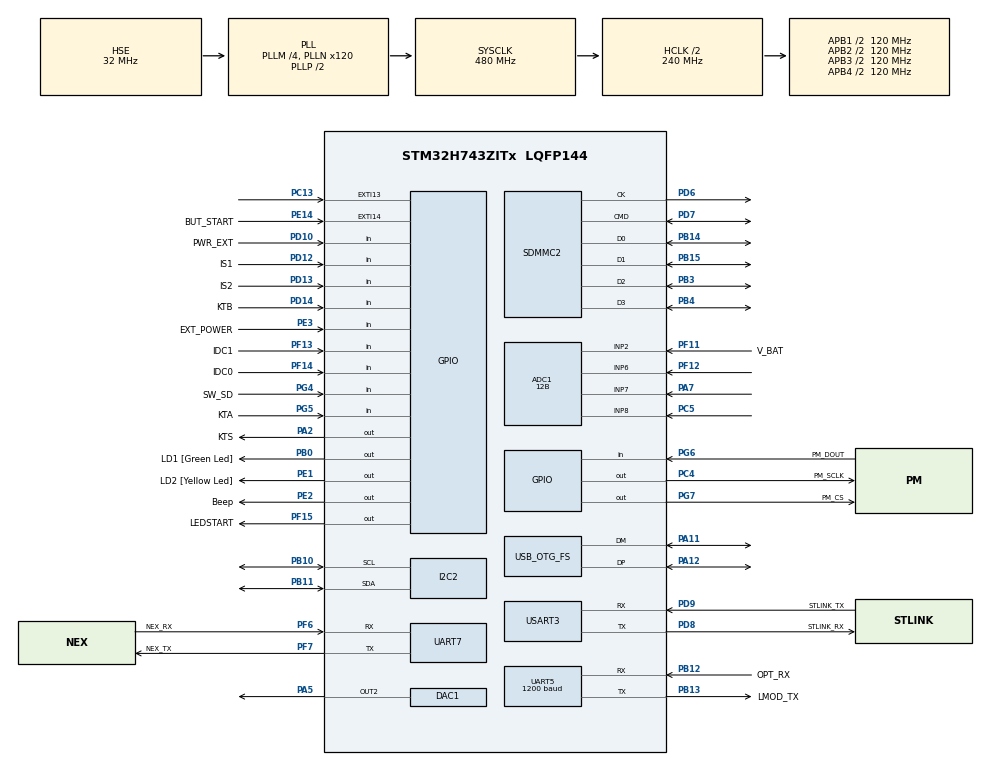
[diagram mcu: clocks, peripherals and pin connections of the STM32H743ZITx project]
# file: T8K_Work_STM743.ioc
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ADC1.Channel-3\#ChannelRegularConversion=ADC_CHANNEL_2
ADC1.Channel-4\#ChannelRegularConversion=ADC_CHANNEL_6
ADC1.Channel-5\#ChannelRegularConversion=ADC_CHANNEL_7
ADC1.Channel-6\#ChannelRegularConversion=ADC_CHANNEL_8
ADC1.ClockPrescaler=ADC_CLOCK_ASYNC_DIV2
ADC1.ContinuousConvMode=DISABLE
ADC1.ConversionDataManagement=ADC_CONVERSIONDATA_DMA_CIRCULAR
ADC1.ExternalTrigConv=ADC_SOFTWARE_START
ADC1.ExternalTrigConvEdge=ADC_EXTERNALTRIGCONVEDGE_NONE
ADC1.NbrOfConversion=4
ADC1.NbrOfConversionFlag=1
ADC1.OffsetNumber-3\#ChannelRegularConversion=ADC_OFFSET_NONE
ADC1.OffsetNumber-4\#ChannelRegularConversion=ADC_OFFSET_NONE
ADC1.OffsetNumber-5\#ChannelRegularConversion=ADC_OFFSET_NONE
ADC1.OffsetNumber-6\#ChannelRegularConversion=ADC_OFFSET_NONE
ADC1.OffsetSignedSaturation-3\#ChannelRegularConversion=DISABLE
ADC1.OversamplingMode=DISABLE
ADC1.Rank-3\#ChannelRegularConversion=1
ADC1.Rank-4\#ChannelRegularConversion=2
ADC1.Rank-5\#ChannelRegularConversion=3
ADC1.Rank-6\#ChannelRegularConversion=4
ADC1.Resolution=ADC_RESOLUTION_12B
ADC1.SamplingTime-3\#ChannelRegularConversion=ADC_SAMPLETIME_64CYCLES_5
ADC1.SamplingTime-4\#ChannelRegularConversion=ADC_SAMPLETIME_64CYCLES_5
ADC1.SamplingTime-5\#ChannelRegularConversion=ADC_SAMPLETIME_810CYCLES_5
ADC1.SamplingTime-6\#ChannelRegularConversion=ADC_SAMPLETIME_810CYCLES_5
ADC1.master=1
AL94.I-CUBE-USBD-COMPOSITE.1.0.3.CompositeCcUSBJjCOMPOSITEJjCDCIiACM=true
AL94.I-CUBE-USBD-COMPOSITE.1.0.3.CompositeCcUSBJjCOMPOSITEJjCOMPOSITE=true
AL94.I-CUBE-USBD-COMPOSITE.1.0.3.CompositeCcUSBJjCOMPOSITEJjCore=true
AL94.I-CUBE-USBD-COMPOSITE.1.0.3.CompositeCcUSBJjCOMPOSITEJjMSCIiBOT=true
AL94.I-CUBE-USBD-COMPOSITE.1.0.3._USBD_CDC_ACM_COUNT=1
AL94.I-CUBE-USBD-COMPOSITE.1.0.3._USBD_USE_CDC_ACM=true
AL94.I-CUBE-USBD-COMPOSITE.1.0.3._USBD_USE_HS=false
AL94.I-CUBE-USBD-COMPOSITE.1.0.3._USBD_USE_MSC=true
CORTEX_M7.CPU_DCache=Disabled
CORTEX_M7.CPU_ICache=Disabled
CORTEX_M7.default_mode_Activation=0
DAC1.DAC_Channel-DAC_OUT2=DAC_CHANNEL_2
Dma.ADC1.1.Direction=DMA_PERIPH_TO_MEMORY
Dma.ADC1.1.EventEnable=DISABLE
Dma.ADC1.1.FIFOMode=DMA_FIFOMODE_DISABLE
Dma.ADC1.1.Instance=DMA1_Stream1
Dma.ADC1.1.MemDataAlignment=DMA_MDATAALIGN_HALFWORD
Dma.ADC1.1.MemInc=DMA_MINC_ENABLE
Dma.ADC1.1.Mode=DMA_NORMAL
Dma.ADC1.1.PeriphDataAlignment=DMA_PDATAALIGN_HALFWORD
Dma.ADC1.1.PeriphInc=DMA_PINC_DISABLE
Dma.ADC1.1.Polarity=HAL_DMAMUX_REQ_GEN_RISING
Dma.ADC1.1.Priority=DMA_PRIORITY_HIGH
Dma.ADC1.1.RequestNumber=1
Dma.ADC1.1.SignalID=NONE
Dma.ADC1.1.SyncEnable=DISABLE
Dma.ADC1.1.SyncPolarity=HAL_DMAMUX_SYNC_NO_EVENT
Dma.ADC1.1.SyncRequestNumber=1
Dma.ADC1.1.SyncSignalID=NONE
Dma.Request0=USART3_TX
Dma.Request1=ADC1
Dma.Request2=UART7_TX
Dma.Request3=UART5_TX
Dma.UART5_TX.3.Direction=DMA_MEMORY_TO_PERIPH
Dma.UART5_TX.3.EventEnable=DISABLE
Dma.UART5_TX.3.FIFOMode=DMA_FIFOMODE_DISABLE
Dma.UART5_TX.3.Instance=DMA1_Stream5
Dma.UART5_TX.3.MemDataAlignment=DMA_MDATAALIGN_BYTE
Dma.UART5_TX.3.MemInc=DMA_MINC_ENABLE
Dma.UART5_TX.3.Mode=DMA_NORMAL
Dma.UART5_TX.3.PeriphDataAlignment=DMA_PDATAALIGN_BYTE
Dma.UART5_TX.3.PeriphInc=DMA_PINC_DISABLE
Dma.UART5_TX.3.Polarity=HAL_DMAMUX_REQ_GEN_RISING
Dma.UART5_TX.3.Priority=DMA_PRIORITY_LOW
Dma.UART5_TX.3.RequestNumber=1
Dma.UART5_TX.3.SignalID=NONE
Dma.UART5_TX.3.SyncEnable=DISABLE
Dma.UART5_TX.3.SyncPolarity=HAL_DMAMUX_SYNC_NO_EVENT
Dma.UART5_TX.3.SyncRequestNumber=1
Dma.UART5_TX.3.SyncSignalID=NONE
Dma.UART7_TX.2.Direction=DMA_MEMORY_TO_PERIPH
Dma.UART7_TX.2.EventEnable=DISABLE
Dma.UART7_TX.2.FIFOMode=DMA_FIFOMODE_DISABLE
Dma.UART7_TX.2.Instance=DMA1_Stream3
Dma.UART7_TX.2.MemDataAlignment=DMA_MDATAALIGN_BYTE
Dma.UART7_TX.2.MemInc=DMA_MINC_ENABLE
Dma.UART7_TX.2.Mode=DMA_NORMAL
Dma.UART7_TX.2.PeriphDataAlignment=DMA_PDATAALIGN_BYTE
Dma.UART7_TX.2.PeriphInc=DMA_PINC_DISABLE
Dma.UART7_TX.2.Polarity=HAL_DMAMUX_REQ_GEN_RISING
Dma.UART7_TX.2.Priority=DMA_PRIORITY_LOW
Dma.UART7_TX.2.RequestNumber=1
Dma.UART7_TX.2.SignalID=NONE
Dma.UART7_TX.2.SyncEnable=DISABLE
Dma.UART7_TX.2.SyncPolarity=HAL_DMAMUX_SYNC_NO_EVENT
Dma.UART7_TX.2.SyncRequestNumber=1
Dma.UART7_TX.2.SyncSignalID=NONE
Dma.USART3_TX.0.Direction=DMA_MEMORY_TO_PERIPH
Dma.USART3_TX.0.EventEnable=DISABLE
Dma.USART3_TX.0.FIFOMode=DMA_FIFOMODE_ENABLE
Dma.USART3_TX.0.FIFOThreshold=DMA_FIFO_THRESHOLD_FULL
Dma.USART3_TX.0.Instance=DMA1_Stream0
Dma.USART3_TX.0.MemBurst=DMA_MBURST_SINGLE
Dma.USART3_TX.0.MemDataAlignment=DMA_MDATAALIGN_BYTE
Dma.USART3_TX.0.MemInc=DMA_MINC_ENABLE
Dma.USART3_TX.0.Mode=DMA_NORMAL
Dma.USART3_TX.0.PeriphBurst=DMA_PBURST_SINGLE
Dma.USART3_TX.0.PeriphDataAlignment=DMA_PDATAALIGN_BYTE
Dma.USART3_TX.0.PeriphInc=DMA_PINC_DISABLE
Dma.USART3_TX.0.Polarity=HAL_DMAMUX_REQ_GEN_RISING
Dma.USART3_TX.0.Priority=DMA_PRIORITY_MEDIUM
Dma.USART3_TX.0.RequestNumber=1
Dma.USART3_TX.0.SignalID=NONE
Dma.USART3_TX.0.SyncEnable=DISABLE
Dma.USART3_TX.0.SyncPolarity=HAL_DMAMUX_SYNC_NO_EVENT
Dma.USART3_TX.0.SyncRequestNumber=1
Dma.USART3_TX.0.SyncSignalID=NONE
FATFS.BSP.number=1
FATFS._USE_LFN=2
FATFS0.BSP.STBoard=false
FATFS0.BSP.api=Unknown
FATFS0.BSP.instance=PG4
FATFS0.BSP.ip=GPIO
FATFS0.BSP.mode=Input
FATFS0.BSP.name=Detect_SDIO
FATFS0.BSP.solution=PG4
I2C2.Speed=50
I2C2.Timing=0x70303AEE
Mcu.Family=STM32H7
Mcu.Name=STM32H743ZITx
Mcu.Package=LQFP144
NVIC.DMA1_Stream0_IRQn=true\:0\:0\:false\:false\:true\:false\:true\:true
NVIC.DMA1_Stream1_IRQn=true\:0\:0\:false\:false\:true\:false\:true\:true
NVIC.DMA1_Stream3_IRQn=true\:0\:0\:false\:false\:true\:false\:true\:true
NVIC.DMA1_Stream5_IRQn=true\:0\:0\:false\:false\:true\:false\:true\:true
NVIC.EXTI15_10_IRQn=true\:0\:0\:false\:false\:true\:true\:true\:true
NVIC.OTG_FS_IRQn=true\:0\:0\:false\:false\:true\:true\:true\:true
NVIC.PriorityGroup=NVIC_PRIORITYGROUP_4
NVIC.UART5_IRQn=true\:0\:0\:false\:false\:true\:true\:true\:true
NVIC.UART7_IRQn=true\:0\:0\:false\:false\:true\:true\:true\:true
NVIC.USART3_IRQn=true\:0\:0\:false\:false\:true\:true\:true\:true
PA0.GPIO_Speed=GPIO_SPEED_FREQ_VERY_HIGH
PA0.Signal=S_TIM2_CH1_ETR
PA1.Signal=ETH_REF_CLK
PA11.GPIO_Speed=GPIO_SPEED_FREQ_LOW
PA11.Mode=Device_Only
PA11.Signal=USB_OTG_FS_DM
PA12.GPIO_Speed=GPIO_SPEED_FREQ_LOW
PA12.Mode=Device_Only
PA12.Signal=USB_OTG_FS_DP
PA13\ (JTMS/SWDIO).GPIO_Label=JTMS
PA13\ (JTMS/SWDIO).Mode=Serial_Wire
PA13\ (JTMS/SWDIO).Signal=DEBUG_JTMS-SWDIO
PA14\ (JTCK/SWCLK).GPIO_Label=JTCK
PA14\ (JTCK/SWCLK).Mode=Serial_Wire
PA14\ (JTCK/SWCLK).Signal=DEBUG_JTCK-SWCLK
PA2.GPIO_Label=KTS
PA2.GPIO_Speed=GPIO_SPEED_FREQ_VERY_HIGH
PA2.Signal=GPIO_Output
PA5.Signal=COMP_DAC12_group
PA7.Signal=ADCx_INP7
PB0.GPIO_Label=LD1 [Green Led]
PB0.GPIO_Speed=GPIO_SPEED_FREQ_VERY_HIGH
PB0.Signal=GPIO_Output
PB10.GPIO_Speed=GPIO_SPEED_FREQ_HIGH
PB10.Mode=I2C
PB10.Signal=I2C2_SCL
PB11.GPIO_Speed=GPIO_SPEED_FREQ_HIGH
PB11.Mode=I2C
PB11.Signal=I2C2_SDA
PB12.GPIO_Label=OPT_RX
PB12.GPIO_PuPd=GPIO_PULLUP
PB12.Mode=Asynchronous
PB12.Signal=UART5_RX
PB13.GPIO_Label=LMOD_TX
PB13.Mode=Asynchronous
PB13.Signal=UART5_TX
PB14.GPIO_PuPd=GPIO_PULLUP
PB14.Mode=SD_4_bits_Wide_bus
PB14.Signal=SDMMC2_D0
PB15.GPIO_PuPd=GPIO_PULLUP
PB15.Mode=SD_4_bits_Wide_bus
PB15.Signal=SDMMC2_D1
PB3\ (JTDO/TRACESWO).GPIO_PuPd=GPIO_PULLUP
PB3\ (JTDO/TRACESWO).Mode=SD_4_bits_Wide_bus
PB3\ (JTDO/TRACESWO).Signal=SDMMC2_D2
PB4\ (NJTRST).GPIO_PuPd=GPIO_PULLUP
PB4\ (NJTRST).Mode=SD_4_bits_Wide_bus
PB4\ (NJTRST).Signal=SDMMC2_D3
PB7.GPIO_Speed=GPIO_SPEED_FREQ_VERY_HIGH
PB7.Signal=DCMI_VSYNC
PB8.GPIO_Speed=GPIO_SPEED_FREQ_VERY_HIGH
PB8.Signal=DCMI_D6
PB9.GPIO_Speed=GPIO_SPEED_FREQ_VERY_HIGH
PB9.Signal=DCMI_D7
PC1.Signal=ETH_MDC
PC11.GPIO_Speed=GPIO_SPEED_FREQ_VERY_HIGH
PC11.Signal=DCMI_D4
PC13.GPIO_PuPd=GPIO_PULLDOWN
PC13.Signal=GPXTI13
PC14-OSC32_IN\ (OSC32_IN).Mode=LSE-External-Oscillator
PC14-OSC32_IN\ (OSC32_IN).Signal=RCC_OSC32_IN
PC15-OSC32_OUT\ (OSC32_OUT).Mode=LSE-External-Oscillator
PC15-OSC32_OUT\ (OSC32_OUT).Signal=RCC_OSC32_OUT
PC4.GPIO_Label=PM_SCLK
PC4.GPIO_Speed=GPIO_SPEED_FREQ_HIGH
PC4.Signal=GPIO_Output
PC5.Signal=ADCx_INP8
PC8.GPIO_Speed=GPIO_SPEED_FREQ_VERY_HIGH
PC8.Signal=DCMI_D2
PD10.GPIO_Label=PWR_EXT
PD10.Signal=GPIO_Input
PD12.GPIO_Label=IS1
PD12.Signal=GPIO_Input
PD13.GPIO_Label=IS2
PD13.Signal=GPIO_Input
PD14.GPIO_Label=KTB
PD14.Signal=GPIO_Input
PD6.Mode=SD_4_bits_Wide_bus
PD6.Signal=SDMMC2_CK
PD7.GPIO_PuPd=GPIO_PULLUP
PD7.Mode=SD_4_bits_Wide_bus
PD7.Signal=SDMMC2_CMD
PD8.GPIO_Label=STLINK_RX
PD8.GPIO_PuPd=GPIO_PULLUP
PD8.GPIO_Speed=GPIO_SPEED_FREQ_VERY_HIGH
PD8.Mode=Asynchronous
PD8.Signal=USART3_TX
PD9.GPIO_Label=STLINK_TX
PD9.GPIO_PuPd=GPIO_PULLUP
PD9.GPIO_Speed=GPIO_SPEED_FREQ_VERY_HIGH
PD9.Mode=Asynchronous
PD9.Signal=USART3_RX
PE1.GPIO_Label=LD2 [Yellow Led]
PE1.GPIO_Speed=GPIO_SPEED_FREQ_VERY_HIGH
PE1.Signal=GPIO_Output
PE14.GPIO_Label=BUT_START
PE14.GPIO_ModeDefaultEXTI=GPIO_MODE_IT_FALLING
PE14.GPIO_PuPd=GPIO_PULLUP
PE14.Signal=GPXTI14
PE2.GPIO_Label=Beep
PE2.GPIO_Speed=GPIO_SPEED_FREQ_HIGH
PE2.Signal=GPIO_Output
PE3.GPIO_Label=EXT_POWER
PE3.Signal=GPIO_Input
PF11.GPIO_Label=V_BAT
PF11.Mode=IN2-Single-Ended
PF11.Signal=ADC1_INP2
PF12.Mode=IN6-Single-Ended
PF12.Signal=ADC1_INP6
PF13.GPIO_Label=IDC1
PF13.GPIO_PuPd=GPIO_PULLUP
PF13.Signal=GPIO_Input
PF14.GPIO_Label=IDC0
PF14.GPIO_PuPd=GPIO_PULLUP
PF14.Signal=GPIO_Input
PF15.GPIO_Label=LEDSTART
PF15.GPIO_Speed=GPIO_SPEED_FREQ_HIGH
PF15.Signal=GPIO_Output
PF6.GPIO_Label=NEX_RX
PF6.GPIO_PuPd=GPIO_PULLUP
PF6.GPIO_Speed=GPIO_SPEED_FREQ_HIGH
PF6.Mode=Asynchronous
PF6.Signal=UART7_RX
PF7.GPIO_Label=NEX_TX
PF7.GPIO_Speed=GPIO_SPEED_FREQ_HIGH
PF7.Mode=Asynchronous
PF7.Signal=UART7_TX
PG11.Signal=ETH_TX_EN
PG13.Signal=ETH_TXD0
PG4.GPIO_Label=SW_SD
PG4.GPIO_PuPd=GPIO_PULLUP
PG4.Signal=GPIO_Input
PG5.GPIO_Label=KTA
PG5.Signal=GPIO_Input
PG6.GPIO_Label=PM_DOUT
PG6.GPIO_PuPd=GPIO_PULLUP
PG6.Signal=GPIO_Input
PG7.GPIO_Label=PM_CS
PG7.GPIO_PuPd=GPIO_PULLUP
PG7.GPIO_Speed=GPIO_SPEED_FREQ_HIGH
PG7.PinState=GPIO_PIN_SET
PG7.Signal=GPIO_Output
PH0-OSC_IN\ (PH0).Mode=HSE-External-Oscillator
PH0-OSC_IN\ (PH0).Signal=RCC_OSC_IN
PH1-OSC_OUT\ (PH1).Mode=HSE-External-Oscillator
PH1-OSC_OUT\ (PH1).Signal=RCC_OSC_OUT
ProjectManager.HeapSize=0x2000
ProjectManager.StackSize=0x1400
ProjectManager.TargetToolchain=EWARM V8.32
RCC.ADCCLockSelection=RCC_ADCCLKSOURCE_PLL3
RCC.ADCFreq_Value=16000000
RCC.APB1Freq_Value=120000000
RCC.APB2Freq_Value=120000000
RCC.APB3Freq_Value=120000000
RCC.APB4Freq_Value=120000000
RCC.CortexFreq_Value=480000000
RCC.D1PPRE=RCC_APB3_DIV2
RCC.D2PPRE1=RCC_APB1_DIV2
RCC.D2PPRE2=RCC_APB2_DIV2
RCC.D3PPRE=RCC_APB4_DIV2
RCC.DIVM1=4
RCC.DIVM2=16
RCC.DIVM3=16
RCC.DIVN1=120
RCC.DIVN2=144
RCC.DIVN3=96
RCC.DIVP2=3
RCC.DIVQ2=8
RCC.DIVQ3=4
RCC.DIVR1=8
RCC.DIVR2=6
RCC.DIVR3=12
RCC.HCLKFreq_Value=240000000
RCC.HPRE=RCC_HCLK_DIV2
RCC.HSE_VALUE=32000000
RCC.PLL2FRACN=0
RCC.PLLSourceVirtual=RCC_PLLSOURCE_HSE
RCC.RCC_MCODiv2=RCC_MCODIV_4
RCC.RTCClockSelection=RCC_RTCCLKSOURCE_LSE
RCC.SDMMC1CLockSelection=RCC_SDMMCCLKSOURCE_PLL2
RCC.SYSCLKFreq_VALUE=480000000
RCC.SYSCLKSource=RCC_SYSCLKSOURCE_PLLCLK
RCC.USART234578CLockSelection=RCC_USART234578CLKSOURCE_PLL2
RCC.USBCLockSelection=RCC_USBCLKSOURCE_PLL3
RCC.USBFreq_Value=48000000
RTC.Date=5
RTC.Format=RTC_FORMAT_BIN
RTC.Hours=10
RTC.Month=RTC_MONTH_AUGUST
RTC.Year=26
SDMMC2.ClockDiv=2
SH.ADCx_INP7.0=ADC1_INP7,IN7-Single-Ended
SH.ADCx_INP8.0=ADC1_INP8,IN8-Single-Ended
SH.COMP_DAC12_group.0=DAC1_OUT2,DAC_OUT2
SH.S_TIM2_CH1_ETR.0=TIM2_CH1
UART5.BaudRate=1200
USART3.OneBitSampling=UART_ONE_BIT_SAMPLE_DISABLE
USART3.RXFIFOThreshold=RXFIFO_THRESHOLD_FULL
USART3.TXFIFOThreshold=TXFIFO_THRESHOLD_EMPTY
USART3.VirtualMode-Asynchronous=VM_ASYNC
USB_OTG_FS.VirtualMode=Device_Only
VP_AL94.I-CUBE-USBD-COMPOSITE_VS_USBJjComposite_1.0.0_1.0.3.Mode=USBJjComposite
VP_FATFS_VS_SDIO.Mode=SDIO
VP_RTC_VS_RTC_Activate.Mode=RTC_Enabled
VP_RTC_VS_RTC_Calendar.Mode=RTC_Calendar
board=NUCLEO-H743ZI2

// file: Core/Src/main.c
/* USER CODE BEGIN Header */
/**
  ******************************************************************************
  * @file           : main.c
  * @brief          : Main program body
  ******************************************************************************
  * @attention
  *
  * Copyright (c) 2025 STMicroelectronics.
  * All rights reserved.
  *
  * This software is licensed under terms that can be found in the LICENSE file
  * in the root directory of this software component.
  * If no LICENSE file comes with this software, it is provided AS-IS.
  *
  ******************************************************************************
  */
/* USER CODE END Header */
#include "main.h"
#include "adc.h"
#include "dac.h"
#include "dma.h"
#include "fatfs.h"
#include "i2c.h"
#include "rtc.h"
#include "sdmmc.h"
#include "usart.h"
#include "usb_otg.h"
#include "gpio.h"

/* USER CODE BEGIN Includes */
//#include "usbd_cdc_if.h"
#include "usb_device.h"
#include "usbd_cdc_acm_if.h"
/* USER CODE END Includes */

/* USER CODE BEGIN PD */
    // !!!В Н И М А Н И Е!!!
    // идентификатор платы должен совпасть с программным
#define ID_PLATE  0x1 //0x3 - Т7к  0x2 - Т5к
//#define ID_PLATE  0x2 //0x3 - Т7к  0x2 - Т5к
#define DEL_PWR (100./62. + 1) //  делитель для контроля напряжения батарейки

/* USER CODE END PD */

/* USER CODE BEGIN PV */
// программа для цифровой платы STM743 для ТОпаз-8000
// сигналы с цифровой платы на аналоговую
// используем на цифровой плате только короткие разъемы 8 пин
// по схеме цифровой,  пин контроллера, пин цифровой, пин аналоговый, функция,
// GND -  * - x16.2 - x2.8 - Земля
// GND  - * - x16.4 - x2.6 - Земля
// 5V_A2 - * - x17.6 - x3.4 = питание 5 вольт
// 1 - U8.9 (P5) - x17.8 - x3.2 - ANLG_A2 - выбор адреса канала
// 3 - U8.7 (P3) - x17.7 - x3.1 - ANLG_A0 - выбор адреса канала
// 2 - U8.8 (P4) - x17.5 - x3.3 - ANLG_A1 - выбор адреса канала
// SHDN - U8.10 (P6) - x17.4 - x3.6 - ANLG_A3 - выбор адреса канала
// CTRL - U8.5 (P1) - x17.3 - x3.5 - WR - запись адреса канала
// CLK_ADC_OUT - FREE1 (PA7) ADC_INP7 - x16.7 - x2.1 - ANLG_CHNLS1 аналоговый выход на АЦП
// CLK_ADC_IN - FREE2 (PC5) ADC_INP8 - x16.6 - x2.4 - ANLG_CHNLS2 аналоговый выход на АЦП

//const uint16_t TstDacCode[9]={128,512,64,1024,32,2048,256,384,3000};
const uint16_t TstDacCode[9]={1500,1800,2100,2400,2700,3000,3300,3600,4000};
uint16_t KeyP; // клавиши нажатые
  char DigitSet = 1; //шаг изменеия устанавливаемого затухания
  char LvlBatInd=8; //индикатор уровня батарейки

  // контроль идентификатора платы
 uint8_t CheckErrID_Plate=0;

      // здесь сложная ориентация перезаписи, то есть перебор по местам в КЛЮЧЕ от 0 до 8 по двум
      // каналам но в CWDMData совсем другие индексы CWDM , главное записать в правильную ячейку
int IndxCWDM[]={14,15,16,17,0,1,2,3,4,13,12,11,10,9,8,7,6,5};
      // обратный индекс
int ReIxCWDM[]={4,5,6,7,8,17,16,15,14,13,12,11,10,9,0,1,2,3};

     float CWDMData[18]; // данные
     float CWDMDataMem[18]; // данные из памяти
     BYTE g_IndexMeas = 0; // счетчик индекс циклов
     BYTE g_IndexLW = 0; // индекс указатель на длину волны индикации
uint8_t g_EnaQuickReDraw=0;; // признак быстрой перерисовки экрана когда анализатор
 // окна
     uint8_t CntChanel=0; // счетчик каналов
// режим работы прибора для настройки (1 - настройка, 0- работа)
 char ModeWork = 0;
 // признак перерисовки экрана в динамических режимах
 char ModeReDrawLCD = 0; // Анализатор, главное меню (там часы)
 // Номер текущей страницы индикатора для востановления
  char NumCurrPage = 0; //
 // нужно обработать функцию. по времени или по событию
  char NeedRunFunc = 0; //
  // нужно запустить старт АЦП
  char NeedStartADC = 0; // спустя 8-10 мС после переключения ключа

//variable USB
//uint32_t RecievUSB=0 ; // признак принятия данных по USB, число данных в буфере
uint8_t BusyUSB=0 ; // признак передачи данных по USB, с SD картой
// при приеме передаче взводим на 10 мС , и перезаводим при следующей передаче/приеме
uint16_t PresentUSB = 0; // признак подключенного USB
uint8_t ModeUSB = 0; // признак работы USB для индикации
uint8_t MemMsgModeUSB = 0; // признак работы USB для индикации доп строчки
uint8_t MSC_or_CDC = 0; // признак активности MSC для инициализации разрешим, и как только сразу запретимпо умолчанию запрещно
uint8_t g_CardSD = 0; // признак подключенной карты для правильной индикации

uint8_t Tik_045 = 0; // тик для медленной индикации, взводится каждые 450 мС , в основном цикле...
uint8_t Key_Read = 0; // тик для медленносчитывания клавиатуры , в основном цикле...
uint8_t Ena_ADC_Read = 0; //признак запуска измерения ADC

unsigned int CheckErrMEM;
BYTE CurrLang; // текущий язык

DWORD TimeBegin; // время начала, для контроля начальной заставки

uint8_t TxDMA = 0; // признак занятости DMA
char TxBufAns[512]; // буффер передачи в USB
// переменные UART I2C
uint16_t Dummy; // пустое чтение буфферов UART
// строка для индикатора
char Str[64];
static char Stri[32]; // строка для отображения сообщения о подключении USB

char VerFW_LCD[25] = {"No version LCD          \0"}; //версия ПО индикатора NEXION

// ВСПОМОГАТЕЛЬНЫЕ ПЕРЕМЕННЫЕ
DWORD CountTimerPA = 0;
char ScreenReDraw=0; // признак необходимости перерисовать экран
char NeedSaveParam=0; // признак необходимости сохранить параметры

uint16_t CurrLevelDAC=0; //текущий уровень для ЦАП (востанавливаем из тех что храним в UserSet)

uint32_t CcMinute=0; // счетчик минуты (посекундно)
uint32_t BadLevelBat=0; //режим плохого уровня батарейки
uint32_t BadBatCnt = 0; // счетчик времени плохой батарейки

float Ubat=4.6; // начальное напряжение батареи
uint16_t BufADC[SizeBuf_ADC_int]; // буфер внутреннего АЦП (8), в него пишем при съеме DMA, размер до 8

uint8_t g_ErrFW_LCD = 0; // не правильная прошивка индикатора
uint8_t g_OldFW_LCD = 0; // старая прошивка индикатора
uint8_t TimerDraw = 0; // время прорисовки ошибки , каждую секунду...

/* USER CODE END PV */

void SystemClock_Config(void);
void PeriphCommonClock_Config(void);

int main(void)
{

  /* MCU Configuration--------------------------------------------------------*/

  /* Reset of all peripherals, Initializes the Flash interface and the Systick. */
  HAL_Init();

  /* Configure the system clock */
  SystemClock_Config();

/* Configure the peripherals common clocks */
  PeriphCommonClock_Config();

  /* USER CODE BEGIN SysInit */
  MX_GPIO_Init();
  MX_DMA_Init();
  MX_UART7_Init();
  // Start Uart7 - Nextion
  uint16_t  Dummy = huart7.Instance->RDR ; // чистим буффер приема от NEXTION
  HAL_UART_Receive_IT(&huart7, RX_BufNEX,1); // ждем принятия первого байта из внешнего мира
  /* disable the UART Parity Error Interrupt */
  __HAL_UART_DISABLE_IT(&huart7, UART_IT_PE);
  /* disable the UART Error Interrupt: (Frame error, noise error, overrun error) */
  __HAL_UART_DISABLE_IT(&huart7, UART_IT_ERR);

  // перенастроим UART7  для NEXTION
  huart7.Init.BaudRate = 9600;
  if (HAL_UART_Init(&huart7) != HAL_OK)
  {
    Error_Handler();
  }
  HAL_Delay(10);
  sprintf((void*)Str,"bauds=115200яяя");
  HAL_UART_Transmit(&huart7, (void*)Str,strlen((void*)Str),20); // выдаем
  HAL_Delay(20);
  sprintf((void*)Str,"bauds=115200яяя");
  HAL_UART_Transmit(&huart7, (void*)Str,strlen((void*)Str),20); // выдаем

  //NEX_Transmit(Str);//
  HAL_Delay(10);
  huart7.Init.BaudRate = 115200;
  if (HAL_UART_Init(&huart7) != HAL_OK)
  {
    Error_Handler();
  }
  //  myBeep(100);
  HAL_Delay(10);
  if(ID_PLATE != GETIDPLT)
  {
    CheckErrID_Plate=1;
  }

  CmdInitPage(0);// вызов окна заставки

  CmdInitPage(0);// вызов окна заставки

  if(CheckErrID_Plate)
  {
    sprintf((void*)Str, "t0.txt=\"! ОШИБКА !\"яяя"); // auto
    NEX_Transmit((void*)Str);    //
    sprintf((void*)Str, "t1.txt=\"ПО от другого прибора\"яяя"); // auto
    NEX_Transmit((void*)Str);    //

    while(1);

  }

  StartRecievNEX (400);
  sprintf((void*)Str,"get tlcd.txtяяя");
  NEX_Transmit((void*)Str);//
  //HAL_Delay(200);
  while(!((g_WtRdyNEX)||(ReadyNEX==4)));
    HAL_Delay(50);
  StartRecievNEX (400);
  sprintf((void*)Str,"get tlcd.txtяяя");
  NEX_Transmit((void*)Str);//
  //HAL_Delay(200);
  while(!((g_WtRdyNEX)||(ReadyNEX==4)));
  // здесь просто можем повиснуть не дождавшись ответов от индикатора
  // это плохо при плохих индикаторах
  // надо ждать получения ответа
  if(RX_BufNEX[0] == 0x70) // есть ответ! перепишем буффер
  {
    for(int i=0;i<25;++i)VerFW_LCD[i]=RX_BufNEX[i+1];
    VerFW_LCD[23]=0;
    // здесь получим идентификатор индикатора (если его прочтем)
    // он нужен для вариантов отображения при просмотре рефлектограмм и в памяти
    //      switch(VerFW_LCD[3])
    //      {
    //      case '2':
    //        TypeLCD=0;
    //        KnowLCD = 1;
    //        break;
    //      case '5':
    //        TypeLCD=1;
    //        KnowLCD = 1;
    //        break;
    //      default:
    //        TypeLCD=0;
    //        KnowLCD = 0;
    //        break;
    //      }

    if(VerFW_LCD[6]!='8')
      g_ErrFW_LCD = 1;;
      // проверим версию индикатора
      g_OldFW_LCD = 0;;
    uint32_t  NumVerLCD = atoi(&VerFW_LCD[19]);
    if(NumVerLCD != 16)
      g_OldFW_LCD = 1;

  }
  // пошлем сообщение о включении ...
  sprintf((void*)Str, "t1.txt=\"Включение...\"яяя"); // auto
  NEX_Transmit((void*)Str);    //

  /* USER CODE END SysInit */

  /* Initialize all configured peripherals */
  MX_GPIO_Init();
  MX_DMA_Init();
  MX_USART3_UART_Init();
  MX_ADC1_Init();
  MX_I2C2_Init();
  MX_RTC_Init();
  MX_UART7_Init();
  MX_UART5_Init();
  MX_DAC1_Init();
  MX_SDMMC2_SD_Init();
  MX_USB_OTG_FS_PCD_Init();
  MX_FATFS_Init();
  /* USER CODE BEGIN 2 */
  // сразу пробуем поставить ЦАП

  HAL_DAC_Start(&hdac1,DAC_CHANNEL_2);

  HAL_DAC_SetValue(&hdac1,DAC_CHANNEL_2,DAC_ALIGN_12B_R,CurrLevelDAC);

  // проверяем конфигурацию платы, чтобы не запустить программу по исправленю
  // если вдруг зашили чужую программу, попытаемся написать в индикатор и зациклится

  // Start Uart7 - Nextion
  Dummy = huart7.Instance->RDR ; // чистим буффер приема от NEXTION
  HAL_UART_Receive_IT(&huart7, RX_BufNEX,1); // ждем принятия первого байта из внешнего мира
  /* disable the UART Parity Error Interrupt */
  __HAL_UART_DISABLE_IT(&huart7, UART_IT_PE);
  /* disable the UART Error Interrupt: (Frame error, noise error, overrun error) */
  __HAL_UART_DISABLE_IT(&huart7, UART_IT_ERR);

  //  // перенастроим UART7  для NEXTION
  //  huart7.Init.BaudRate = 9600;
  //  if (HAL_UART_Init(&huart7) != HAL_OK)
  //  {
  //    Error_Handler();
  //  }
  //  HAL_Delay(10);
  //  sprintf((void*)Str,"bauds=115200яяя");
  //  HAL_UART_Transmit(&huart7, (void*)Str,strlen((void*)Str),20); // выдаем
  //
  //  //NEX_Transmit(Str);//
  //   HAL_Delay(10);
  //  huart7.Init.BaudRate = 115200;
  //  if (HAL_UART_Init(&huart7) != HAL_OK)
  //  {
  //    Error_Handler();
  //  }
  // //  myBeep(100);
  //  HAL_Delay(10);
  //  sprintf((void*)Str, "page 0яяя"); // < START>
  //  NEX_Transmit((void*)Str);    //
  //  // пошлем сообщение о включении ...
  //    sprintf((void*)Str, "t1.txt=\"Включение...\"яяя"); // auto
  //    NEX_Transmit((void*)Str);    //

  // так как повторяем конфигурацию из 7kAR, то скомбинируем из DataDevice MemFlash(у нас PCA955x)
  CheckErrMEM =   BeginConfig();

  CheckErrMEM |= StartInitSDcard();

  // подготовка внутреннего АЦП
  if (HAL_ADCEx_Calibration_Start(&hadc1, ADC_CALIB_OFFSET_LINEARITY, ADC_SINGLE_ENDED) != HAL_OK)
  {
    myBeep(100);

    Error_Handler();
  }
  // конец обработки клавы и АЦП, запустим снова АЦП
  // if(HAL_ADC_Start_DMA(&hadc1,(uint32_t*)&BufADC,3) != HAL_OK) Error_Handler();//3

  if (HAL_ADC_Start_DMA(&hadc1,
                        (uint32_t *)&BufADC,
                        8
                          ) != HAL_OK)
  {
    myBeep(100);
    Error_Handler();
  }
  //LED_START(1);
  // Start Uart3 - внешний мир
  Dummy = huart3.Instance->RDR ; // чистим буффер приема от SIM
  HAL_UART_Receive_IT(&huart3, RxBufExt,1); // ждем принятия первого байта из внешнего мира
  /* disable the UART Parity Error Interrupt */
  __HAL_UART_DISABLE_IT(&huart3, UART_IT_PE);
  /* disable the UART Error Interrupt: (Frame error, noise error, overrun error) */
  __HAL_UART_DISABLE_IT(&huart3, UART_IT_ERR);
  // Тестовая посылка по UART
  sprintf((void*)TxBufAns,"TEst\n"); //
  HAL_UART_Transmit(&huart3,(void*)TxBufAns, strlen((void*)TxBufAns),100);
  // Start Uart5 - Optics
  Dummy = huart5.Instance->RDR ; // чистим буффер приема от OPTIC
  HAL_UART_Receive_IT(&huart5, RxBufExt,1); // ждем принятия первого байта из внешнего мира
  /* disable the UART Parity Error Interrupt */
  __HAL_UART_DISABLE_IT(&huart5, UART_IT_PE);
  /* disable the UART Error Interrupt: (Frame error, noise error, overrun error) */
  __HAL_UART_DISABLE_IT(&huart5, UART_IT_ERR);
  //UARTSendExt ((BYTE*)TxBufAns, strlen(TxBufAns));
  // инициализация клавиатуры
  InitBtns();

  // начало работы..
  TimeBegin = HAL_GetTick();
  // получим и посчитаем батарейку
  Ubat = 2.5*DEL_PWR*BufADC[0]/4096;
  // перебор уровня батаhейки, для индикации
  LvlBatInd = 0;
  if(Ubat > 5.1) LvlBatInd = 8;
  else if (Ubat > 5.02) LvlBatInd = 7;
  else if (Ubat > 4.95) LvlBatInd = 6;
  else if (Ubat > 4.88) LvlBatInd = 5;
  else if (Ubat > 4.81) LvlBatInd = 4;
  else if (Ubat > 4.74) LvlBatInd = 3;
  else if (Ubat > 4.67) LvlBatInd = 2;
  else if (Ubat > 4.6) LvlBatInd = 1;
  if(GETEXTPWR == 0)  LvlBatInd = 9;
  // CountBat = 0;
  LvlBatSav.BatControl[0] = CountBat++;
  LvlBatSav.BatControl[CountBat] = Ubat;
  // пропишем в память
  EEPROM_write(&LvlBatSav.BatControl[0], ADR_BatSave  , 4);
  EEPROM_write(&LvlBatSav.BatControl[CountBat], ADR_BatSave +  4*CountBat , 4);

  MX_USB_DEVICE_Init();
  CmdInitPage(0);// вызов окна заставки

  HAL_Delay(10);
  SetMode (ModeWelcome);
  CmdInitPage(0);// посылка команды переключения окна на Welcome и установка признака первого входа
  HAL_Delay(1000);
  MSC_or_CDC = 0; // признак активности MSC для инициализации разрешим, и как только сразу запретимпо умолчанию запрещно

  /* USER CODE END 2 */

  /* Infinite loop */
  /* USER CODE BEGIN WHILE */
  while (1)
  {
//    if((Ena_ADC_Read)&&(GetSysTick(0)>8))
//    {
//      Ena_ADC_Read = 0;
//      // здесь можно запустить Измерение АЦП
//      if (HAL_ADC_Start_DMA(&hadc1,(uint32_t *)&BufADC,8) != HAL_OK)
//      {
//        myBeep(100);
//        Error_Handler();
//      }
//    }
    if((GetSysTick(0)>8)&&(NeedStartADC)&&(!ProgFW_LCD))// после 8 мС каждые 30 мС или больше...и не в программировании
    { // запускаем измерение АЦП
      //LED_START(1);
              if (HAL_ADC_Start_DMA(&hadc1,(uint32_t *)&BufADC,8) != HAL_OK)
        {
          myBeep(100);
          Error_Handler();

        }
        HAL_Delay(1);
        NeedStartADC = 0;

    }
    // проверка кнопок каждые 30 мС, и тут переключаем и измеряем каналы
    // взводим признак необходимости выполнения функции
    if((GetSysTick(0)>30)&&(!ProgFW_LCD))// каждые 30 мС или больше...и не в программировании
    //if((GetSysTick(0)>10)&&(!ProgFW_LCD))// каждые 30 мС или больше...и не в программировании
    {
      //Ena_ADC_Read = 1;
      // расчет данных по полученным данным из АЦП, каждый момент имеем два значения АЦП
      uint32_t SumAdcOne=0;
      uint32_t SumAdcTwo=0;
      // проверим на разницу среднего и текущего
      if((abs(AdcCodes[CntChanel].AvrgADC - BufADC[2])) > 50)
      {// переписываем буффер
        for(int i=0;i<NUMAVRG;i++)
        {
          AdcCodes[CntChanel].dADC[i] = BufADC[2];
        }
      }
      // проверим на разницу среднего и текущего
      if((abs(AdcCodes[CntChanel+9].AvrgADC - BufADC[3])) > 50)
      {// переписываем буффер
        for(int i=0;i<NUMAVRG;i++)
        {
          AdcCodes[CntChanel+9].dADC[i] = BufADC[3];
        }
      }
      for(int i=NUMAVRG-1;i>0;i--)
      {
        SumAdcOne +=AdcCodes[CntChanel].dADC[i] = AdcCodes[CntChanel].dADC[i-1];
        SumAdcTwo +=AdcCodes[CntChanel+9].dADC[i] = AdcCodes[CntChanel+9].dADC[i-1];
      }
      SumAdcOne +=AdcCodes[CntChanel].dADC[0] = BufADC[2];
      SumAdcTwo +=AdcCodes[CntChanel+9].dADC[0] = BufADC[3];
      // записываем текущее значение усредненного уровня по текущему индексу (поКЛЮЧУ)
      AdcCodes[CntChanel].AvrgADC = (uint32_t)(SumAdcOne/NUMAVRG + 0.5);
      AdcCodes[CntChanel+9].AvrgADC = (uint32_t)(SumAdcTwo/NUMAVRG + 0.5);
      // которое прописываем в соотв ячейку
      //CWDMData[CntChanel] = BufADC[2]*CoeffLW.SlopeChADC[0]+CoeffLW.OffsetLW[CntChanel];
      //CWDMData[CntChanel+9] = BufADC[3]*CoeffLW.SlopeChADC[1]+CoeffLW.OffsetLW[CntChanel+9];
      // здесь сложная ориентация перезаписи, то есть перебор по местам в КЛЮЧЕ от 0 до 8 по двум
      // каналам но в CWDMData совсем другие индексы CWDM , главное записать в правильную ячейку
      //int IndxCWDM[]={13,12,11,10,9,8,7,6,5,14,15,16,17,0,1,2,3,4};
      //int IndxCWDM[]={14,15,16,17,0,1,2,3,4,13,12,11,10,9,8,7,6,5};
      CWDMData[IndxCWDM[CntChanel]] = AdcCodes[CntChanel].AvrgADC*CoeffLW.SlopeChADC[0]+CoeffLW.OffsetLW[IndxCWDM[CntChanel]];
      CWDMData[IndxCWDM[CntChanel+9]] = AdcCodes[CntChanel+9].AvrgADC*CoeffLW.SlopeChADC[1]+CoeffLW.OffsetLW[IndxCWDM[CntChanel+9]];
      // изменяем счетчик перебора
      if(CntChanel<8)CntChanel++;
      else CntChanel=0;
      // управление ключами по счетчику
      CtrlExpand(CntChanel<<3,0x78);
      // выведем текущий уровень ЦАП по счетчику
      //HAL_DAC_SetValue(&hdac1,DAC_CHANNEL_2,DAC_ALIGN_12B_R,TstDacCode[CurrLevelDAC]);
      HAL_DAC_SetValue(&hdac1,DAC_CHANNEL_2,DAC_ALIGN_12B_R,TstDacCode[CntChanel]);
      //
      // управление сигналом записи (CTRL - ANLG_WR)
      CtrlExpand(0,0x2);
      CtrlExpand(2,0x2);
      //if(Key_Read++>3)
      //{
      KeyP = SetBtnStates( GetExpand (), 1 ); // опрос клавиатуры
      //Key_Read = 0;
      //}

      GetSysTick(1);// сброс системного ожидания
      // управление красным лазером
      // поконтролить батарейку
      // инекремент таймаре PA
      //HAL_Delay(8); // ожидание после переключения каналов
      //if(CurrLevelDAC<7)CurrLevelDAC++;
      //else CurrLevelDAC=0;

      CountTimerPA++;
      //if(CountTimerPA>15) // еже секундное прохождение
      if(CntChanel == 0) // еже секундное прохождение
        //if(CountTimerPA>100)
      {
        TimerDraw = 1;
        Tik_045 = 1;

        // каждую секунду, посчитаем батарейку
        // (BufADC[0]*(2.5/4096))
        // хорошо заряженные 5.3-5.4 -
        // без аккумулятора от сети вижу 4.33
        // пока возьмем 4.1 мин - 5.0 макс
        Ubat = 2.5*DEL_PWR*BufADC[0]/4096;
        // перебор уровня батаhейки, для индикации
        if(Ubat > 5.1) LvlBatInd = 8;
        else if (Ubat > 5.01) LvlBatInd = 7;
        else if (Ubat > 4.92) LvlBatInd = 6;
        else if (Ubat > 4.83) LvlBatInd = 5;
        else if (Ubat > 4.74) LvlBatInd = 4;
        else if (Ubat > 4.65) LvlBatInd = 3;
        else if (Ubat > 4.56) LvlBatInd = 2;
        else if (Ubat >= 4.5) LvlBatInd = 1;
        // внешнее питание
        if(GETEXTPWR == 0)
        {
          LvlBatInd = 9;
          BadBatCnt = 0;
        }
        else if (Ubat < 4.5)
        {
          LvlBatInd = 0;
          if(BadBatCnt<3)
          {
            BadBatCnt++; //ждем пару сек
            //LED_START(1);//On  LED
            //myBeep(10);
            //HAL_Delay(50);
            //LED_START(0);//Off  LED

          }
          if(!BadLevelBat && (BadBatCnt==3))
          { // переключаемся в режим индикации плохой батаейки
            BadLevelBat = 1;
            SetMode (BadBattery);
            CmdInitPage(9);
          }

        }
        else // уровень в норме
        {
          BadBatCnt = 0;

        }
        //LvlBatInd = (char)(Ubat*10. - 40.)+1;
        //if(Ubat<4.0) LvlBatInd = 0;
        //if((Ubat>4.9)||(LvlBatInd>8)) LvlBatInd = 8;
        // рисуем батарейку
        //        sprintf((void*)Str,"p0.pic=%dяяя",LvlBatInd);
        //        NEX_Transmit((void*)Str);//
        // получим текущее время и оработаем его
        if(CcMinute++>60)
        {
          if(CountBat++>2048)
            CountBat=1;

          LvlBatSav.BatControl[CountBat] = Ubat;
          LvlBatSav.BatControl[0] = CountBat;
          // пропишем в память
          EEPROM_write(&LvlBatSav.BatControl[0], ADR_BatSave  , 4);
          EEPROM_write(&LvlBatSav.BatControl[CountBat], ADR_BatSave +  4*CountBat , 4);

          CcMinute=0;
        }
        g_IndexMeas++; // просто, проверочный счетчик, приблизительно каждую секунду, для переключения индикации
        // о работе USB
        CountTimerPA = 0;
        // для режима отображения анализатора, перерисовываем данные
        if(ModeReDrawLCD)
        {
          g_NeedScr=1;
          //ModeReDrawLCD = 0;
        }
        // конец цикла для отображения динамических результатов
      }
      //if(g_EnaQuickReDraw)g_NeedScr=1;
      //LvlBatInd++;
      // цикл измерения менее 1 мС, поэтому можно измерить 8 раз и накопить буффер
      // попробуем цикл
      // расчет данных по полученным данным из АЦП, каждый момент имеем два значения АЦП
      //uint32_t SumAdcOne=0;
      //uint32_t SumAdcTwo=0;
      //for (int j=0; j<8; j++)
      //{
        //LED_START(1); // здесь можно начать измерения после переключения
//        // здесь можно запустить Измерение АЦП
//        if (HAL_ADC_Start_DMA(&hadc1,(uint32_t *)&BufADC,8) != HAL_OK)
//        {
//          myBeep(100);
//          Error_Handler();
//
//        }
//        HAL_Delay(1);
        //      SumAdcOne +=AdcCodes[CntChanel].dADC[j] = BufADC[2];
        //      SumAdcTwo +=AdcCodes[CntChanel+9].dADC[j] = BufADC[3];

      //}
      // записываем текущее значение усредненного уровня по текущему индексу (поКЛЮЧУ)
      //      AdcCodes[CntChanel].AvrgADC = (uint32_t)(SumAdcOne/NUMAVRG + 0.5);
      //      AdcCodes[CntChanel+9].AvrgADC = (uint32_t)(SumAdcTwo/NUMAVRG + 0.5);
      // которое прописываем в соотв ячейку
      //CWDMData[CntChanel] = BufADC[2]*CoeffLW.SlopeChADC[0]+CoeffLW.OffsetLW[CntChanel];
      //CWDMData[CntChanel+9] = BufADC[3]*CoeffLW.SlopeChADC[1]+CoeffLW.OffsetLW[CntChanel+9];
      // здесь сложная ориентация перезаписи, то есть перебор по местам в КЛЮЧЕ от 0 до 8 по двум
      // каналам но в CWDMData совсем другие индексы CWDM , главное записать в правильную ячейку
      //int IndxCWDM[]={13,12,11,10,9,8,7,6,5,14,15,16,17,0,1,2,3,4};
      //int IndxCWDM[]={14,15,16,17,0,1,2,3,4,13,12,11,10,9,8,7,6,5};
      //      CWDMData[IndxCWDM[CntChanel]] = AdcCodes[CntChanel].AvrgADC*CoeffLW.SlopeChADC[0]+CoeffLW.OffsetLW[IndxCWDM[CntChanel]];
      //      CWDMData[IndxCWDM[CntChanel+9]] = AdcCodes[CntChanel+9].AvrgADC*CoeffLW.SlopeChADC[1]+CoeffLW.OffsetLW[IndxCWDM[CntChanel+9]];
      //LED_START(1);
      NeedRunFunc = 1;
      //LED_START(0);
      NeedStartADC = 1;
      //HAL_Delay(10);
    }// конец 30 мС обработки
    // проверка приема по UART EXT
    if (RSDecYes) // вызов программы обработки комманды принятой по UART
    {
      DecodeCommandRS();
      NeedRunFunc = 1;
    }

    // режим программирования индикатора и ответы от индикатора
    if(Uart2DecYes)
    {
      if(ProgFW_LCD)
      {
        CDC_Transmit(0,(uint8_t*)RX_BufNEX, CntRXNEX ); // echo back on same channel
      }
      else
      {
        // что-то приняли в ответ от индикатора, можно посмотреть
        CheckStrNEX (); // проверка принятой строки
        NeedRunFunc = 1;

      }
      Uart2DecYes=0;
      RecievNEX=STOP_UART;
    }

    if(NeedSaveParam)
    {

      WriteNeedStruct(NeedSaveParam);
      NeedSaveParam = 0;
      NeedRunFunc = 1;
    }
    // основное отображение режима
    if((!ProgFW_LCD)&&(NeedRunFunc))
    {
      // сюда попадаем по времени каждые 30мС или по событиям приема,
      // для перерисовки экрана
//      if(ModeUSB) // устанавливаем когда пишем или читаем по USB SDCard
//      {
//        // сбрасываем нажатые кнопки
//        ClrKeyAll();
//      }
      // прорисовка основной функции
//        ModeFuncTmp();
      // если Флэшка занята,

      NeedRunFunc = 0;
      if(ModeUSB) // устанавливаем когда пишем или читаем по USB SDCard
      {
        // сбрасываем нажатые кнопки
        ClrKeyAll();
        if(Tik_045) //  каждые .45 сек
        {
          switch (ModeUSB)
          {
          case 3:
            // вывод картинки о том что занято USB
            sprintf((void*)Str,"pic 144,94,%dяяя",(g_IndexMeas%3)+53);
            //sprintf((void*)Str,"pic 144,94,53яяя");
            NEX_Transmit((void*)Str);//
            MemMsgModeUSB = 1; // признак работы USB для индикации доп строчки
            ModeUSB=2;
            break;
          case 2:
            //sprintf(Stri,"xstr 80,85,350,60,2,BLACK,2016,1,1,1,\"%s\"яяя",MsgMass[61][CurrLang]); // зеленый ?
            //NEX_Transmit((void*)Stri);//
            HAL_Delay(20);
            //sprintf(Stri,"xstr 80,145,350,60,2,BLACK,2016,1,1,1,\"%s\"яяя",MsgMass[27][CurrLang]); // зеленый ?
            //NEX_Transmit((void*)Stri);//
            //HAL_Delay(50);

            //          sprintf((void*)Str,"fill 0,0,480,4,REDяяя");
            //          NEX_Transmit((void*)Str);//
            //          sprintf((void*)Str,"fill 0,0,4,320,REDяяя");
            //          NEX_Transmit((void*)Str);//
            //          sprintf((void*)Str,"fill 476,4,4,320,REDяяя");
            //          NEX_Transmit((void*)Str);//
            //          sprintf((void*)Str,"fill 0,316,4480,4,REDяяя");
            //          NEX_Transmit((void*)Str);//
            break;
          default:

            //                    sprintf((void*)Str,"fill 0,0,480,4,WHITEяяя");
            //                    NEX_Transmit((void*)Str);//
            //                    sprintf((void*)Str,"fill 0,0,4,320,WHITEяяя");
            //                    NEX_Transmit((void*)Str);//
            //                    sprintf((void*)Str,"fill 476,4,4,320,WHITEяяя");
            //                    NEX_Transmit((void*)Str);//
            //                    sprintf((void*)Str,"fill 0,316,4480,4,WHITEяяя");
            //                    NEX_Transmit((void*)Str);//
            ModeUSB = 0;
            CmdInitPage(NumCurrPage);

            break;
          }
          Tik_045 =0;

        }
      }
      else
      {
      // прорисовка основной функции
        ModeFuncTmp();
      }

      //LED_START(0);

    }
    // проверка окончания записи индикатора
    if(ProgFW_LCD==2) ProgFW_LCD=0;

    /* USER CODE END WHILE */

  }
}

void SystemClock_Config(void)
{
  RCC_OscInitTypeDef RCC_OscInitStruct = {0};
  RCC_ClkInitTypeDef RCC_ClkInitStruct = {0};

  /** Supply configuration update enable
  */
  HAL_PWREx_ConfigSupply(PWR_LDO_SUPPLY);

  /** Configure the main internal regulator output voltage
  */
  __HAL_PWR_VOLTAGESCALING_CONFIG(PWR_REGULATOR_VOLTAGE_SCALE1);

  while(!__HAL_PWR_GET_FLAG(PWR_FLAG_VOSRDY)) {}

  __HAL_RCC_SYSCFG_CLK_ENABLE();
  __HAL_PWR_VOLTAGESCALING_CONFIG(PWR_REGULATOR_VOLTAGE_SCALE0);

  while(!__HAL_PWR_GET_FLAG(PWR_FLAG_VOSRDY)) {}

  /** Configure LSE Drive Capability
  */
  HAL_PWR_EnableBkUpAccess();
  __HAL_RCC_LSEDRIVE_CONFIG(RCC_LSEDRIVE_LOW);

  /** Initializes the RCC Oscillators according to the specified parameters
  * in the RCC_OscInitTypeDef structure.
  */
  RCC_OscInitStruct.OscillatorType = RCC_OSCILLATORTYPE_HSE|RCC_OSCILLATORTYPE_LSE;
  RCC_OscInitStruct.HSEState = RCC_HSE_ON;
  RCC_OscInitStruct.LSEState = RCC_LSE_ON;
  RCC_OscInitStruct.PLL.PLLState = RCC_PLL_ON;
  RCC_OscInitStruct.PLL.PLLSource = RCC_PLLSOURCE_HSE;
  RCC_OscInitStruct.PLL.PLLM = 4;
  RCC_OscInitStruct.PLL.PLLN = 120;
  RCC_OscInitStruct.PLL.PLLP = 2;
  RCC_OscInitStruct.PLL.PLLQ = 2;
  RCC_OscInitStruct.PLL.PLLR = 8;
  RCC_OscInitStruct.PLL.PLLRGE = RCC_PLL1VCIRANGE_3;
  RCC_OscInitStruct.PLL.PLLVCOSEL = RCC_PLL1VCOWIDE;
  RCC_OscInitStruct.PLL.PLLFRACN = 0;
  if (HAL_RCC_OscConfig(&RCC_OscInitStruct) != HAL_OK)
  {
    Error_Handler();
  }

  /** Initializes the CPU, AHB and APB buses clocks
  */
  RCC_ClkInitStruct.ClockType = RCC_CLOCKTYPE_HCLK|RCC_CLOCKTYPE_SYSCLK
                              |RCC_CLOCKTYPE_PCLK1|RCC_CLOCKTYPE_PCLK2
                              |RCC_CLOCKTYPE_D3PCLK1|RCC_CLOCKTYPE_D1PCLK1;
  RCC_ClkInitStruct.SYSCLKSource = RCC_SYSCLKSOURCE_PLLCLK;
  RCC_ClkInitStruct.SYSCLKDivider = RCC_SYSCLK_DIV1;
  RCC_ClkInitStruct.AHBCLKDivider = RCC_HCLK_DIV2;
  RCC_ClkInitStruct.APB3CLKDivider = RCC_APB3_DIV2;
  RCC_ClkInitStruct.APB1CLKDivider = RCC_APB1_DIV2;
  RCC_ClkInitStruct.APB2CLKDivider = RCC_APB2_DIV2;
  RCC_ClkInitStruct.APB4CLKDivider = RCC_APB4_DIV2;

  if (HAL_RCC_ClockConfig(&RCC_ClkInitStruct, FLASH_LATENCY_4) != HAL_OK)
  {
    Error_Handler();
  }
}

void PeriphCommonClock_Config(void)
{
  RCC_PeriphCLKInitTypeDef PeriphClkInitStruct = {0};

  /** Initializes the peripherals clock
  */
  PeriphClkInitStruct.PeriphClockSelection = RCC_PERIPHCLK_USB|RCC_PERIPHCLK_ADC
                              |RCC_PERIPHCLK_SDMMC|RCC_PERIPHCLK_UART5
                              |RCC_PERIPHCLK_UART7|RCC_PERIPHCLK_USART3;
  PeriphClkInitStruct.PLL2.PLL2M = 16;
  PeriphClkInitStruct.PLL2.PLL2N = 144;
  PeriphClkInitStruct.PLL2.PLL2P = 3;
  PeriphClkInitStruct.PLL2.PLL2Q = 8;
  PeriphClkInitStruct.PLL2.PLL2R = 6;
  PeriphClkInitStruct.PLL2.PLL2RGE = RCC_PLL2VCIRANGE_1;
  PeriphClkInitStruct.PLL2.PLL2VCOSEL = RCC_PLL2VCOWIDE;
  PeriphClkInitStruct.PLL2.PLL2FRACN = 0;
  PeriphClkInitStruct.PLL3.PLL3M = 16;
  PeriphClkInitStruct.PLL3.PLL3N = 96;
  PeriphClkInitStruct.PLL3.PLL3P = 2;
  PeriphClkInitStruct.PLL3.PLL3Q = 4;
  PeriphClkInitStruct.PLL3.PLL3R = 12;
  PeriphClkInitStruct.PLL3.PLL3RGE = RCC_PLL3VCIRANGE_1;
  PeriphClkInitStruct.PLL3.PLL3VCOSEL = RCC_PLL3VCOWIDE;
  PeriphClkInitStruct.PLL3.PLL3FRACN = 0;
  PeriphClkInitStruct.SdmmcClockSelection = RCC_SDMMCCLKSOURCE_PLL2;
  PeriphClkInitStruct.Usart234578ClockSelection = RCC_USART234578CLKSOURCE_PLL2;
  PeriphClkInitStruct.UsbClockSelection = RCC_USBCLKSOURCE_PLL3;
  PeriphClkInitStruct.AdcClockSelection = RCC_ADCCLKSOURCE_PLL3;
  if (HAL_RCCEx_PeriphCLKConfig(&PeriphClkInitStruct) != HAL_OK)
  {
    Error_Handler();
  }
}

/* USER CODE BEGIN 4 */
// тики опроса клавиатура взято из Т7К_АР
uint32_t GetSysTick( int Mode) // получение тиков 1 мС. 0 - получение счетчика от предыдущего сброса 1- сброс
{
  static uint32_t MemTick;
  if(Mode) MemTick=HAL_GetTick();
  return HAL_GetTick()-MemTick;
}

// управление таймером в измерителе АВТОМАТЕ
WORD TimerPA (BYTE Set)
{
  if (Set) CountTimerPA = 0;
  return CountTimerPA;
}

/*
 * set  beepTick
 */
void myBeep (unsigned sound)
{
  extern unsigned beepTick; //

	beepTick = sound + 1;
}

/* USER CODE END 4 */

void Error_Handler(void)
{
  __disable_irq();
  while (1)
  {
  }
}
